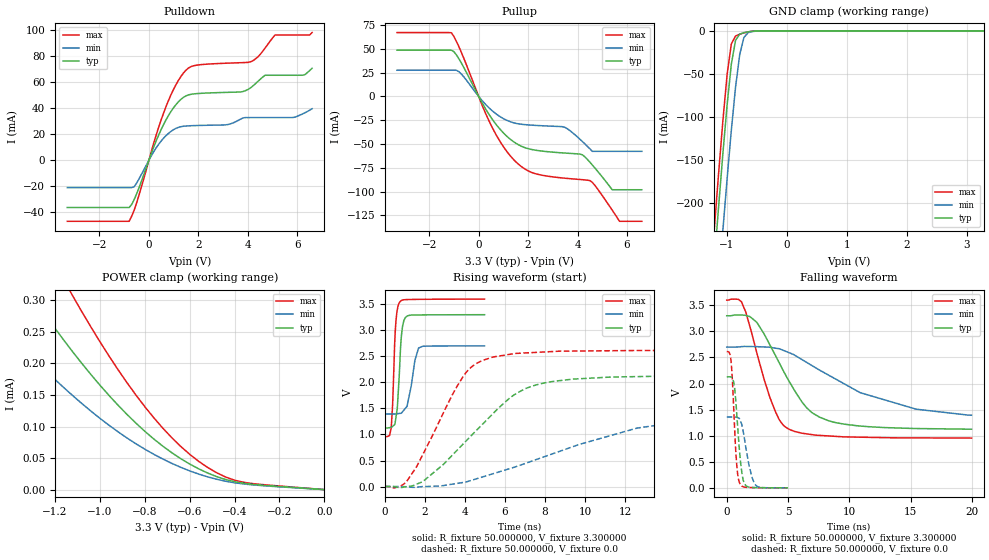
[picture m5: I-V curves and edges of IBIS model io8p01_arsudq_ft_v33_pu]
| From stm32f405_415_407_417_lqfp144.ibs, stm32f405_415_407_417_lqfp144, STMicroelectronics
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|   Model io8p01_arsudq_ft_v33_pu
[Model]  io8p01_arsudq_ft_v33_pu
Model_type I/O
Polarity   Non-Inverting
Enable   Active-Low
Vinl =   0.990000V
Vinh =   2.310000V
Vmeas =  1.650000V
Cref =   50.000000pF
Rref =   100.000000M
Vref =   0.0V
C_comp   2.292100pF   2.219400pF   2.369900pF
[Temperature Range]   25.000000   0.125000k   -40.000000
[Pullup Reference]   3.300000V   2.700000V   3.600000V
[Pulldown Reference]   0.0V   0.0V   0.0V
[POWER Clamp Reference]   3.300000V   2.700000V   3.600000V
[GND Clamp Reference]   0.0V   0.0V   0.0V
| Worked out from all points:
|   slope of the pulldown table from 0 to 0.495 V, typ, clamps not added: 20.9 ohm
|   slope of the pullup table from 0 to 0.495 V, typ, clamps not added: 22.6 ohm
|   GND clamp passes 1 mA (typ) near -0.62 V on its own axis
|   rising waveform, R_fixture 50.000000, V_fixture 3.300000: 20-80 % time 190ps typ, 344ps min, 161ps max; typ from 1.12 V to 3.3 V
|   rising waveform, R_fixture 50.000000, V_fixture 0.0: 20-80 % time 3.32ns typ, 6.65ns min, 2.1ns max; typ from 0.001 V to 2.13 V
|   falling waveform, R_fixture 50.000000, V_fixture 3.300000: 20-80 % time 3.19ns typ, 7.06ns min, 2.02ns max; typ from 3.3 V to 1.12 V
|   falling waveform, R_fixture 50.000000, V_fixture 0.0: 20-80 % time 435ps typ, 651ps min, 337ps max; typ from 2.13 V to 0.001 V
[Pulldown]
|Voltage   I(typ)   I(min)   I(max)
-3.3V     -36.46mA   -21.09mA   -47.09mA
-800mV    -36.46mA   -21.09mA   -47.09mA
-600mV    -30.5mA    -20.55mA   -38.69mA
700mV     31.4mA     19.11mA    41.71mA
1.2V      45.15mA    25.37mA    61.75mA
1.6V      50.35mA    26.5mA     71.06mA
3.1V      52.28mA    27.26mA    74.76mA
4.1V      55.64mA    32.89mA    75.8mA
4.7V      65.5mA     32.89mA    86.49mA
5.1V      65.5mA     32.89mA    96.54mA
6.3V      65.83mA    36.48mA    96.54mA
6.6V      70.88mA    39.69mA    98.4mA
[Pullup]
|Voltage   I(typ)   I(min)   I(max)
-3.3V     48.39mA    27.38mA    66.91mA
-1.1V     48.39mA    27.38mA    66.69mA
-700mV    35.09mA    23.45mA    46.29mA
500mV     -22.06mA   -14mA      -30.03mA
1.5V      -49.1mA    -28.3mA    -68.56mA
2.2V      -56.04mA   -30.32mA   -80.35mA
3.5V      -59.52mA   -32.65mA   -85.91mA
4.2V      -61.43mA   -47.47mA   -87.45mA
4.5V      -69.06mA   -55.01mA   -88.37mA
5.4V      -98mA      -57.7mA    -119.2mA
5.7V      -98mA      -57.7mA    -131.1mA
6.6V      -98mA      -57.7mA    -131.1mA
[GND_clamp]
|Voltage   I(typ)   I(min)   I(max)
-3.3V     -2.314A    -2.394A    -2.288A
-1.2V     -265.5mA   -356.1mA   -227.2mA
-1.13V    -202.6mA   -292.9mA   -164.1mA
-1.06V    -142.2mA   -231.2mA   -104.1mA
-990mV    -85.98mA   -171.6mA   -50.72mA
-920mV    -38.8mA    -115.5mA   -15.28mA
-850mV    -11.08mA   -65.6mA    -6.001mA
-780mV    -3.782mA   -27.42mA   -3.876mA
-710mV    -2.086mA   -7.69mA    -2.381mA
-640mV    -1.147mA   -2.118mA   -1.22mA
-570mV    -523.9uA   -798.4uA   -476.8uA
3.28V     0A         0A         0A
[POWER_clamp]
|Voltage   I(typ)   I(min)   I(max)
-3.28V    785.2uA    403.2uA    1.133mA
-1.56V    448.2uA    307.3uA    613.5uA
-1.32V    315.9uA    216.2uA    438.6uA
-1.28V    295.2uA    201.9uA    411uA
-1.12V    217.7uA    148.5uA    306.1uA
-960mV    149.4uA    102.1uA    211.9uA
-800mV    92.4uA     64.03uA    131.4uA
-680mV    58.5uA     41.61uA    82.28uA
-560mV    32.91uA    24.62uA    44.81uA
-440mV    16uA       13.27uA    19.94uA
-360mV    10.09uA    8.954uA    11.61uA
0V        0A         0A         0A
[Ramp]
| variable   typ   min   max
dV/dt_r  1.27849/3.32584n   0.80097/6.67459n   1.56676/2.09634n
dV/dt_f  1.30182/3.19186n   0.74298/7.04672n   1.58711/2.01788n
R_load = 50.000000
[Rising Waveform]
R_fixture= 50.000000
V_fixture= 3.300000
V_fixture_min= 2.700000
V_fixture_max= 3.600000
|time   V(typ)   V(min)   V(max)
0s        1.125V     1.393V     955.5mV
320.3ps   1.134V     1.393V     1.123V
550.6ps   1.31V      1.395V     3.136V
630.6ps   1.535V     1.399V     3.406V
750.8ps   2.362V     1.405V     3.544V
830.8ps   2.896V     1.411V     3.572V
961ps     3.194V     1.471V     3.587V
1.111ns   3.271V     1.54V      3.59V
1.692ns   3.296V     2.661V     3.595V
4.985ns   3.3V       2.7V       3.599V
[Rising Waveform]
R_fixture= 50.000000
V_fixture= 0.0
V_fixture_min= 0.0
V_fixture_max= 0.0
|time   V(typ)   V(min)   V(max)
0s        1.283mV    1.128mV    1.883mV
480.5ps   -4.042mV   1.255mV    -25.28mV
1.081ns   -2.69mV    -4.199mV   92.02mV
1.922ns   103mV      -218.1uV   631.1mV
3.844ns   788.8mV    74.01mV    2.07V
4.845ns   1.182V     179.8mV    2.416V
6.486ns   1.767V     372.9mV    2.554V
8.408ns   2.019V     632mV      2.593V
12.61ns   2.111V     1.123V     2.612V
19.94ns   2.129V     1.36V      2.612V
[Falling Waveform]
R_fixture= 50.000000
V_fixture= 3.300000
V_fixture_min= 2.700000
V_fixture_max= 3.600000
|time   V(typ)   V(min)   V(max)
0s        3.3V       2.7V       3.599V
1.201ns   3.314V     2.708V     3.567V
2.442ns   3.176V     2.707V     2.596V
3.524ns   2.737V     2.695V     1.729V
4.284ns   2.394V     2.667V     1.306V
5.005ns   2.074V     2.599V     1.134V
6.527ns   1.533V     2.404V     1.035V
8.689ns   1.262V     2.111V     990.6mV
15.42ns   1.138V     1.51V      958.8mV
19.94ns   1.125V     1.393V     955.5mV
[Falling Waveform]
R_fixture= 50.000000
V_fixture= 0.0
V_fixture_min= 0.0
V_fixture_max= 0.0
|time   V(typ)   V(min)   V(max)
0s        2.129V     1.36V      2.612V
340.3ps   2.126V     1.359V     2.458V
550.6ps   2.045V     1.359V     1.622V
810.8ps   1.438V     1.354V     456.9mV
1.071ns   636.8mV    1.307V     84.8mV
1.251ns   260.8mV    1.185V     31.36mV
1.431ns   89.72mV    963mV      16.88mV
1.822ns   14.53mV    426.4mV    8.53mV
2.332ns   5.851mV    61.16mV    5.107mV
4.985ns   1.283mV    1.128mV    1.883mV
